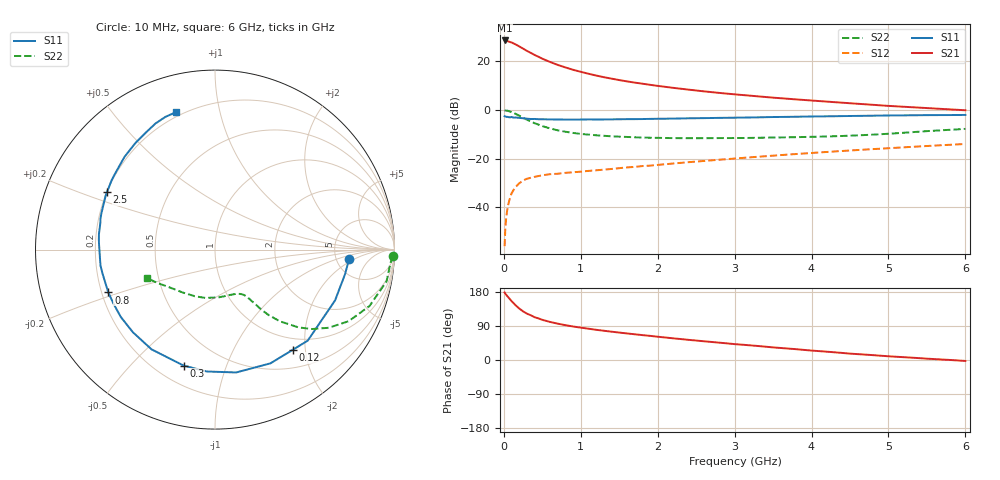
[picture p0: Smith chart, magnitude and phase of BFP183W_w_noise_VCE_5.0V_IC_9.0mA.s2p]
! Infineon Technologies  Discrete & RF Semiconductors
! BFP183W
! VCE =  5.0 V,  IC =  9.0 mA
! Common Emitter S-Parameters:  Jan 2017
# GHz  S  MA  R  50
!  f  S11  S21  S12  S22
! GHz  MAG  ANG  MAG  ANG  MAG  ANG  MAG  ANG
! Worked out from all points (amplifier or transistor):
!   77 points, 10 MHz to 6 GHz, reference 50 ohm
!   highest |S21| = 28.6 dB at 10 MHz (marker M1)
!   |S21| within 3 dB of that: start of sweep to 230.6 MHz
!   unconditionally stable (mu >= 1): 1.699 GHz to 3.971 GHz
!   at 130 MHz: K = 0.14, MSG = 30.0 dB, |S12| = -32.7 dB
!   at 2.2 GHz: K = 1.06, MAG = 14.1 dB, |S12| = -21.9 dB
!   at 6 GHz: K = 0.85, MSG = 6.9 dB, |S12| = -13.9 dB
!   lowest NFmin = 0.90 dB at 450 MHz
!   S11 on the Smith chart (normalised r, x): 10 MHz: 6.61, -1.54; 120 MHz: 0.79, -1.76; 300 MHz: 0.31, -0.72; 800 MHz: 0.23, -0.18; 2.5 GHz: 0.20, +0.24; 6 GHz: 0.18, +0.74
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0.01  0.7492 -3.9  27.05 178.2  0.0016 87.1  0.9937 -2.1
0.02  0.7375 -10.6  26.87 174.8  0.0039 94.4  0.9804 -4.3
0.05  0.7264 -22.9  26.16 167.3  0.0101 79.2  0.9722 -10.5
0.1  0.7241 -44.5  24.65 155.3  0.0194 70.1  0.9162 -20.1
0.12  0.7066 -52.2  23.73 151.4  0.022 65.6  0.8854 -23.2
0.15  0.705 -64.0  22.58 144.9  0.026 60.6  0.8445 -28.2
0.2  0.6946 -80.2  20.41 135.9  0.0314 55.5  0.769 -34.5
0.25  0.6807 -93.9  18.39 128.3  0.0357 49.7  0.6987 -39.3
0.3  0.6692 -105.2  16.53 122.3  0.0389 45.5  0.6356 -43.0
0.4  0.6588 -122.4  13.62 112.9  0.0426 40.9  0.5385 -47.9
0.5  0.6491 -134.8  11.41 106.0  0.0459 38.7  0.47 -50.7
0.6  0.6452 -144.4  9.787 100.5  0.0482 37.3  0.4212 -52.4
0.7  0.6409 -151.9  8.517 95.9  0.0493 37.1  0.3848 -53.3
0.8  0.6405 -158.1  7.554 91.9  0.0515 37.1  0.36 -54.2
1.1  0.6441 -171.9  5.599 82.6  0.0564 39.2  0.3141 -56.3
1.5  0.6496 175.1  4.149 72.4  0.0642 42.1  0.2849 -60.2
2.1  0.6667 160.1  3.011 59.4  0.0774 46.2  0.2676 -69.8
2.5  0.6819 151.8  2.536 51.4  0.0876 47.6  0.265 -78.3
3.1  0.7029 140.9  2.047 40.4  0.1041 48.6  0.2676 -91.9
4.1  0.7432 125.7  1.536 23.4  0.135 47.3  0.2851 -116.3
5.1  0.7792 114.2  1.198 8.6  0.1685 43.6  0.3348 -141.8
6  0.7964 105.7  0.994 -2.5  0.2017 38.7  0.412 -157.5
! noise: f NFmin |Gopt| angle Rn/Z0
0.45  0.9  0.11  89  0.11
0.9  0.95  0.18  132  0.1
1.9  1.46  0.37  179  0.07
2.4  1.71  0.44  -170  0.09
